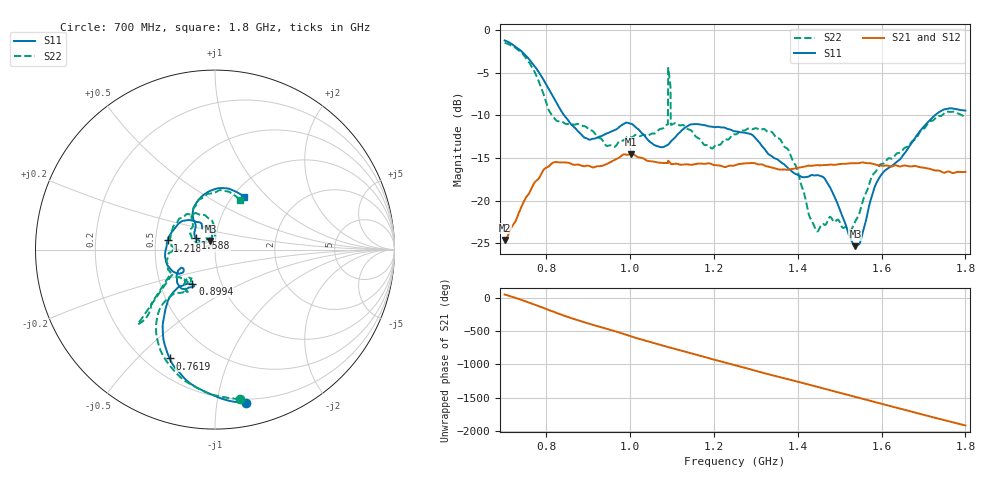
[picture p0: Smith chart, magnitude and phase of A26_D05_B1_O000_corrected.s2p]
! Created with skrf 1.9.0 (http://scikit-rf.org).
# Hz S RI R 50.0
!freq ReS11 ImS11 ReS21 ImS21 ReS12 ImS12 ReS22 ImS22
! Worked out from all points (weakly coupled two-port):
!   1601 points, 700 MHz to 1.8 GHz, reference 50 ohm
!   highest |S21| = -14.52 dB at 1.002 GHz (marker M1); lowest = -24.6 dB at 700 MHz (marker M2)
!   lowest |S11| = -25.3 dB at 1.537 GHz (marker M3), VSWR 1.11, Z = 47.3 + j4.53 ohm
!   |S11| at or under -10 dB: 842.2 MHz to 1.727 GHz (884.9 MHz wide, 68.9 % of centre)
!   |S22| runs from -23.6 to -1.5 dB; largest |S21 - S12| = 0.0035
!   S11 on the Smith chart (normalised r, x): 700 MHz: 0.17, -1.21; 761.9 MHz: 0.29, -0.63; 899.4 MHz: 0.73, -0.29; 1.218 GHz: 0.58, +0.06; 1.588 GHz: 0.80, +0.11; 1.8 GHz: 1.12, +0.75
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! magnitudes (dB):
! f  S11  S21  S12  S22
! 700 MHz  -1.2  -24.6  -24.4  -1.5
! 761.9 MHz  -3.6  -18.8  -18.8  -4.1
! 818.9 MHz  -8.1  -15.5  -15.6  -10.4
! 883.6 MHz  -12.3  -15.9  -15.8  -11.2
! 899.4 MHz  -12.8  -15.9  -15.9  -11.6
! 945.4 MHz  -12.1  -15.7  -15.7  -13.6
! 1.002 GHz  -11.0  -14.5  -14.6  -12.6
! 1.067 GHz  -13.7  -15.5  -15.5  -11.7
! 1.084 GHz  -13.6  -15.6  -15.6  -11.2
! 1.096 GHz  -13.1  -15.6  -15.6  -6.6
! 1.102 GHz  -12.8  -15.7  -15.7  -11.0
! 1.218 GHz  -11.4  -15.9  -16.0  -13.2
! 1.25 GHz  -11.9  -15.9  -15.8  -12.2
! 1.358 GHz  -15.4  -16.4  -16.3  -12.8
! 1.396 GHz  -16.9  -16.2  -16.2  -16.0
! 1.434 GHz  -17.0  -15.9  -15.9  -22.4
! 1.469 GHz  -17.8  -15.8  -15.8  -22.6
! 1.537 GHz  -25.3  -15.6  -15.6  -22.4
! 1.588 GHz  -17.9  -15.8  -15.8  -16.5
! 1.617 GHz  -16.2  -15.9  -15.9  -15.0
! 1.733 GHz  -9.8  -16.5  -16.5  -10.1
! 1.8 GHz  -9.4  -16.6  -16.6  -10.1
